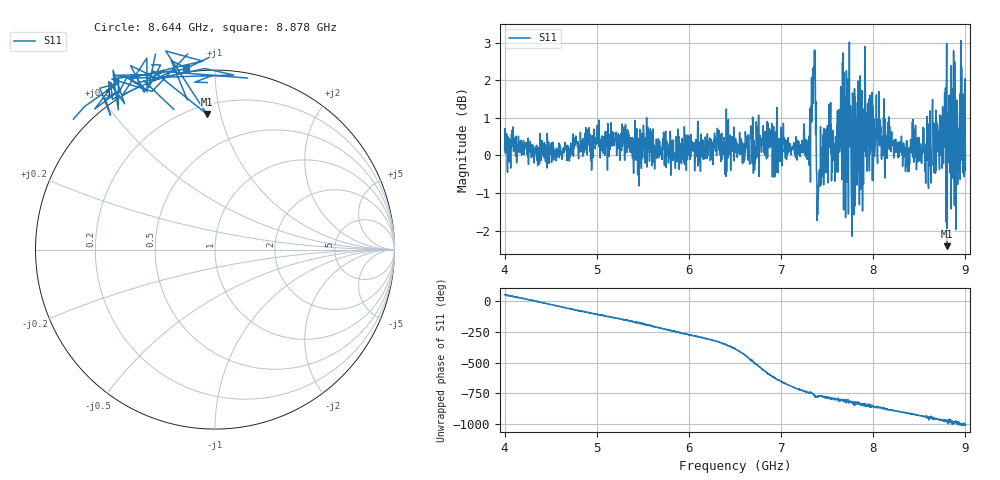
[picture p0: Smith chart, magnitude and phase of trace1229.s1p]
! Created with skrf 1.8.0 (http://scikit-rf.org).
# Hz S RI R 50.0
!freq ReS11 ImS11
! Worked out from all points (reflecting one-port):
!   1601 points, 4 GHz to 9 GHz, reference 50 ohm
!   lowest |S11| = -2.4 dB at 8.803 GHz (marker M1), VSWR 7.23, Z = 12.8 + j45.4 ohm
!   phase of S11 starts at 50 deg and turns -1053 deg over the sweep
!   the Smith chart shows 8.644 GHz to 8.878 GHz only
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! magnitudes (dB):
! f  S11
! 4 GHz  0.1
! 4.625 GHz  -0.1
! 5.25 GHz  -0.1
! 5.875 GHz  0.1
! 6.5 GHz  0.3
! 7.125 GHz  0.2
! 7.294 GHz  0.1
! 7.347 GHz  1.6
! 7.412 GHz  -0.6
! 7.516 GHz  0.4
! 7.594 GHz  0.3
! 7.65 GHz  1.8
! 7.709 GHz  2.3
! 7.731 GHz  -1.6
! 7.75 GHz  0.2
! 7.784 GHz  -0.6
! 7.822 GHz  -0.8
! 7.875 GHz  1.2
! 7.928 GHz  0.9
! 7.981 GHz  0.1
! 8.059 GHz  0.6
! 8.375 GHz  0.0
! 8.612 GHz  -0.3
! 8.775 GHz  1.7
! 8.803 GHz  -2.4
! 8.903 GHz  1.4
! 8.972 GHz  0.7
! 9 GHz  -0.4
